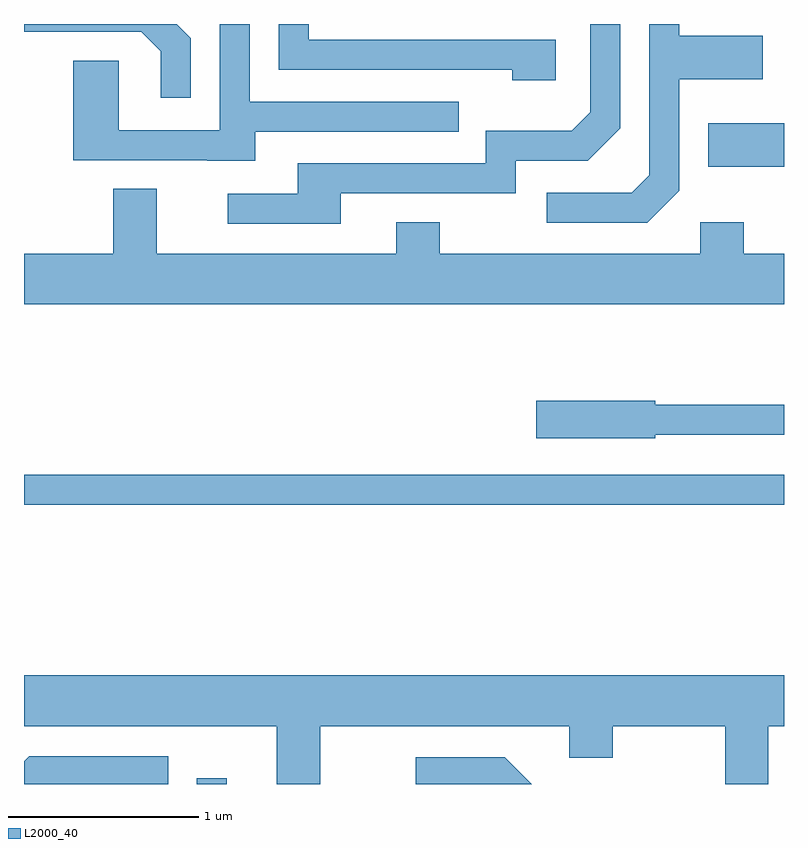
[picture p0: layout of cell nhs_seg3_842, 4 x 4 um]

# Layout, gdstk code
import gdstk
lib = gdstk.Library(unit=1e-6, precision=1e-09)
def R(c, l, rs):  # rectangles x0, y0, x1, y1
    for r in rs: c.add(gdstk.rectangle(r[:2], r[2:], *l))
def P(c, l, *ps):  # polygons
    for p in ps: c.add(gdstk.Polygon(p, *l))
L2000_40 = (2000, 40)

nhs_seg3_842 = lib.new_cell('nhs_seg3_842')
R(nhs_seg3_842, L2000_40, [(210.521,1167.892,210.679,1167.923), (209.611,1169.361,213.611,1169.519), (213.211,1171.141,213.611,1171.369)])
P(nhs_seg3_842, L2000_40, [(210.829,1171.326),(211.898,1171.326),(211.898,1171.484),(210.799,1171.484),(210.799,1171.892),(210.641,1171.892),(210.641,1171.334),(210.109,1171.334),(210.109,1171.699),(209.871,1171.699),(209.871,1171.176),(210.575,1171.176),(210.575,1171.171),(210.829,1171.171)],
  [(212.409,1171.809),(211.109,1171.809),(211.109,1171.892),(210.951,1171.892),(210.951,1171.651),(212.181,1171.651),(212.181,1171.596),(212.409,1171.596)],
  [(210.489,1171.817),(210.414,1171.892),(209.611,1171.892),(209.611,1171.851),(210.229,1171.851),(210.331,1171.749),(210.331,1171.503),(210.489,1171.503)],
  [(213.059,1171.014),(213.059,1171.601),(213.499,1171.601),(213.499,1171.829),(213.059,1171.829),(213.059,1171.892),(212.901,1171.892),(212.901,1171.097),(212.809,1171.004),(212.363,1171.004),(212.363,1170.846),(212.892,1170.846)],
  [(211.279,1171.001),(212.199,1171.001),(212.199,1171.171),(212.577,1171.171),(212.749,1171.344),(212.749,1171.892),(212.591,1171.892),(212.591,1171.427),(212.494,1171.329),(212.041,1171.329),(212.041,1171.159),(211.051,1171.159),(211.051,1170.999),(210.683,1170.999),(210.683,1170.841),(211.279,1170.841)],
  [(213.611,1170.684),(213.399,1170.684),(213.399,1170.849),(213.171,1170.849),(213.171,1170.684),(211.799,1170.684),(211.799,1170.849),(211.571,1170.849),(211.571,1170.684),(210.309,1170.684),(210.309,1171.024),(210.081,1171.024),(210.081,1170.684),(209.611,1170.684),(209.611,1170.416),(213.611,1170.416)],
  [(212.934,1169.731),(213.611,1169.731),(213.611,1169.889),(212.934,1169.889),(212.934,1169.909),(212.306,1169.909),(212.306,1169.711),(212.934,1169.711)],
  [(211.169,1168.196),(212.481,1168.196),(212.481,1168.031),(212.709,1168.031),(212.709,1168.196),(213.301,1168.196),(213.301,1167.892),(213.529,1167.892),(213.529,1168.196),(213.611,1168.196),(213.611,1168.464),(209.611,1168.464),(209.611,1168.196),(210.941,1168.196),(210.941,1167.892),(211.169,1167.892)],
  [(210.369,1168.039),(209.639,1168.039),(209.611,1168.011),(209.611,1167.892),(210.369,1167.892)],
  [(212.142,1168.034),(211.673,1168.034),(211.673,1167.892),(212.284,1167.892)])

lib.write_gds('nhs_seg3_842.gds')
